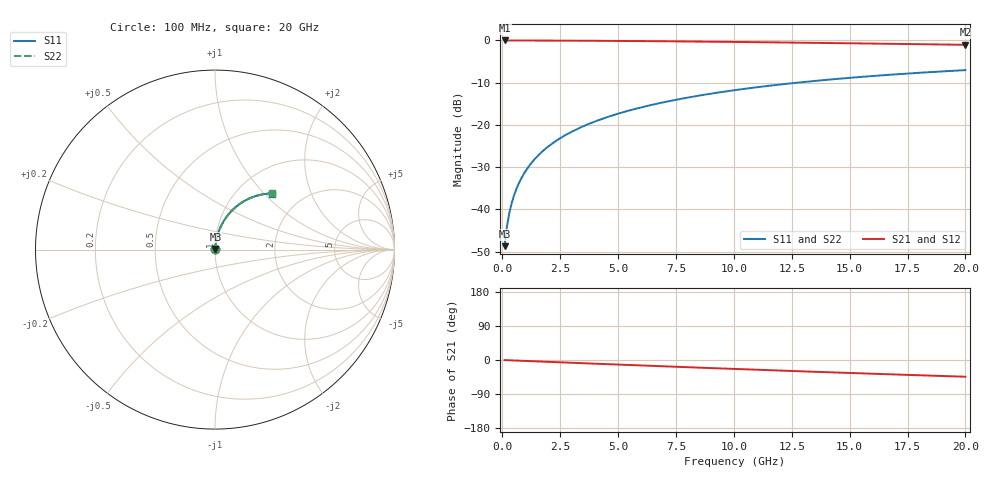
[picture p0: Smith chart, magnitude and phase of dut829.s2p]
! Touchstone file exported from HFSS 2026.1.0
!  File:  C:/ffzhzh/LocalFiles/Ansys_Project_Files/temp_train_TMRDL_829_1783156602_51560.aedt
!  Generated:  05:18:03 PM Jul  4, 2026
!  Design:  TMRDL
!  Project:  temp_train_TMRDL_829_1783156602_51560
! Variables:
!  h_bsmrdl = 2um
!  h_ox = 20um
!  h_rdl = 5um
!  h_sub = 80um
!  h_tmrdl = 5.09um
!  h_tsv = 80um
!  h_via = 3um
!  l_bsmrdl = 300um
!  l_sub = 1014.39um
!  l_tmrdl = 614.39um
!  m_sub = 200um
!  pitch = 59.87um
!  r_tsv = 6um
!  s_tmrdl = 10um
!  w_bsmrdl = 18um
!  w_sub = 500um
!  w_tmrdl = 21.27um
!  x_tsv_center1 = 625.025um
!  x_tsv_center2 = 943.025um
!  x_tsv_center3 = 1578.685um
!  x_tsv_center4 = 1896.685um
!  x_tsv_center5 = 2532.345um
!  x_tsv_center6 = 2850.345um
# GHz S MA R 50.000000
! Terminal data exported
! Port[1] = TM_RDL1_1_T1
! Port[2] = TM_RDL1_1_T2
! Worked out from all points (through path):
!   200 points, 100 MHz to 20 GHz, reference 50 ohm
!   highest |S21| = -0.02 dB at 100 MHz (marker M1); lowest = -1.0 dB at 20 GHz (marker M2)
!   group delay of S21, straight-line fit = 6.14 ps
!   lowest |S11| = -48.7 dB at 100 MHz (marker M3), VSWR 1.01, Z = 50.2 + j0.296 ohm
!   |S11| at or under -10 dB: start of sweep to 12.76 GHz
!   |S22| runs from -48.7 to -7.0 dB; largest |S21 - S12| = 2.1e-15
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0.1  0.00366 53.7  0.9978 -0.3  0.9978 -0.3  0.00366 53.7
! Gamma 0 0 0 0
! Port Impedance 50 0 50 0
0.2  0.006251 68.2  0.9977 -0.5  0.9977 -0.5  0.006251 68.2
0.3  0.008945 73.9  0.9976 -0.8  0.9976 -0.8  0.008945 73.9
0.4  0.01167 76.9  0.9975 -1.0  0.9975 -1.0  0.01167 76.9
0.5  0.01441 78.8  0.9974 -1.2  0.9974 -1.2  0.01441 78.8
0.7  0.01992 80.8  0.9972 -1.7  0.9972 -1.7  0.01992 80.8
0.8  0.02268 81.4  0.9971 -2.0  0.9971 -2.0  0.02268 81.4
1  0.02822 82.0  0.9969 -2.5  0.9969 -2.5  0.02822 82.0
1.2  0.03376 82.3  0.9966 -3.0  0.9966 -3.0  0.03376 82.3
1.4  0.03929 82.3  0.9963 -3.5  0.9963 -3.5  0.03929 82.3
1.7  0.04757 82.1  0.9958 -4.2  0.9958 -4.2  0.04757 82.1
2  0.0558 81.7  0.9952 -4.9  0.9952 -4.9  0.0558 81.7
2.7  0.07486 80.5  0.9934 -6.6  0.9934 -6.6  0.07486 80.5
3.5  0.0963 78.9  0.991 -8.5  0.991 -8.5  0.0963 78.9
4.2  0.1148 77.4  0.9885 -10.2  0.9885 -10.2  0.1148 77.4
5  0.1355 75.6  0.9854 -12.1  0.9854 -12.1  0.1355 75.6
6.8  0.1809 71.7  0.9771 -16.3  0.9771 -16.3  0.1809 71.7
8.3  0.2172 68.4  0.969 -19.7  0.969 -19.7  0.2172 68.4
10.1  0.2589 64.5  0.9582 -23.8  0.9582 -23.8  0.2589 64.5
13.4  0.3292 57.6  0.9357 -30.9  0.9357 -30.9  0.3292 57.6
16.7  0.3911 51.0  0.9112 -37.7  0.9112 -37.7  0.3911 51.0
20  0.4445 44.7  0.8863 -44.1  0.8863 -44.1  0.4445 44.7
